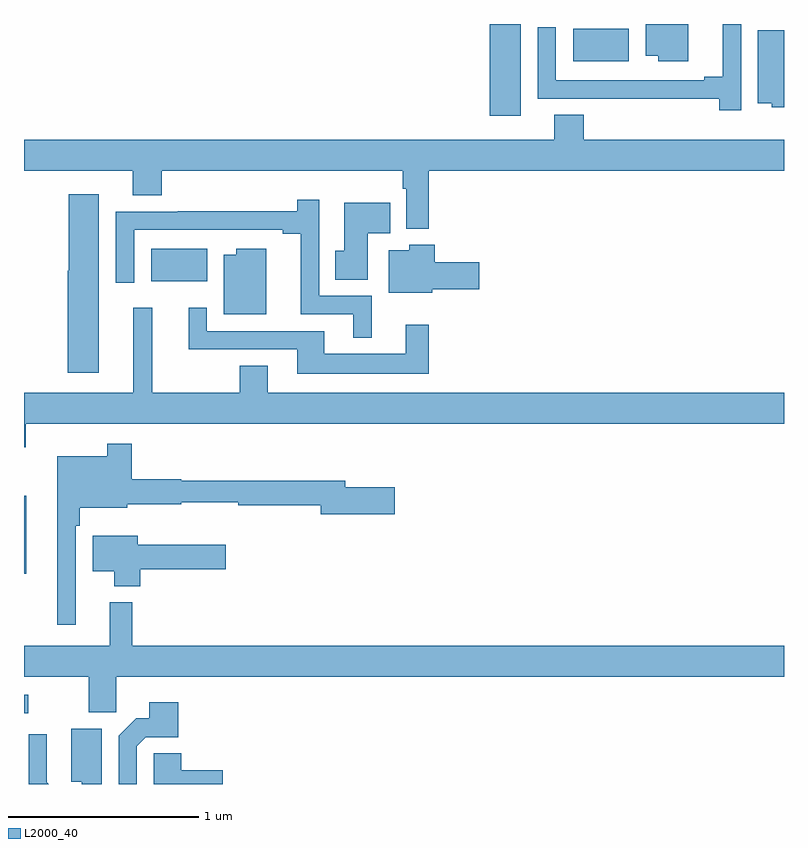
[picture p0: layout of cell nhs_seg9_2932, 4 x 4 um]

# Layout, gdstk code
import gdstk
lib = gdstk.Library(unit=1e-6, precision=1e-09)
def R(c, l, rs):  # rectangles x0, y0, x1, y1
    for r in rs: c.add(gdstk.rectangle(r[:2], r[2:], *l))
def P(c, l, *ps):  # polygons
    for p in ps: c.add(gdstk.Polygon(p, *l))
L2000_40 = (2000, 40)

nhs_seg9_2932 = lib.new_cell('nhs_seg9_2932')
R(nhs_seg9_2932, L2000_40, [(279,1218.873,279.022,1218.969), (279,1219.607,279.013,1220.017), (279.671,1221.146,279.964,1221.316), (281.45,1222.017,281.614,1222.5), (281.891,1222.304,282.184,1222.474)])
P(nhs_seg9_2932, L2000_40, [(282.496,1222.5),(282.272,1222.5),(282.272,1222.334),(282.338,1222.334),(282.338,1222.304),(282.496,1222.304)],
  [(282.774,1222.5),(282.677,1222.5),(282.677,1222.223),(282.581,1222.223),(282.581,1222.203),(281.799,1222.203),(281.799,1222.483),(281.703,1222.483),(281.703,1222.107),(282.028,1222.107),(282.028,1222.106),(282.658,1222.106),(282.658,1222.047),(282.774,1222.047)],
  [(283,1222.466),(282.863,1222.466),(282.863,1222.082),(282.936,1222.082),(282.936,1222.061),(283,1222.061)],
  [(279,1221.728),(279.572,1221.728),(279.572,1221.598),(279.725,1221.598),(279.725,1221.728),(280.993,1221.728),(280.993,1221.632),(281.013,1221.632),(281.013,1221.422),(281.129,1221.422),(281.129,1221.728),(283,1221.728),(283,1221.892),(281.945,1221.892),(281.945,1222.022),(281.792,1222.022),(281.792,1221.892),(279,1221.892)],
  [(279.394,1221.604),(279.236,1221.604),(279.236,1221.201),(279.23,1221.201),(279.23,1220.664),(279.394,1220.664)],
  [(280.831,1221.069),(280.554,1221.069),(280.554,1221.574),(280.438,1221.574),(280.438,1221.515),(279.808,1221.515),(279.808,1221.513),(279.483,1221.513),(279.483,1221.138),(279.579,1221.138),(279.579,1221.417),(280.361,1221.417),(280.361,1221.397),(280.457,1221.397),(280.457,1220.973),(280.733,1220.973),(280.733,1220.849),(280.831,1220.849)],
  [(280.81,1221.398),(280.928,1221.398),(280.928,1221.559),(280.685,1221.559),(280.685,1221.306),(280.639,1221.306),(280.639,1221.154),(280.81,1221.154)],
  [(281.149,1221.104),(281.395,1221.104),(281.395,1221.246),(281.162,1221.246),(281.162,1221.337),(281.028,1221.337),(281.028,1221.31),(280.919,1221.31),(280.919,1221.086),(281.149,1221.086)],
  [(280.276,1221.316),(280.118,1221.316),(280.118,1221.286),(280.052,1221.286),(280.052,1220.972),(280.276,1220.972)],
  [(279.01,1220.396),(283,1220.396),(283,1220.56),(280.282,1220.56),(280.282,1220.702),(280.135,1220.702),(280.135,1220.56),(279.674,1220.56),(279.674,1221.007),(279.575,1221.007),(279.575,1220.56),(279,1220.56),(279,1220.273),(279.01,1220.273)],
  [(281.131,1220.917),(281.009,1220.917),(281.009,1220.764),(280.579,1220.764),(280.579,1220.883),(279.963,1220.883),(279.963,1221.007),(279.866,1221.007),(279.866,1220.787),(280.439,1220.787),(280.439,1220.66),(281.131,1220.66)],
  [(279.273,1219.859),(279.293,1219.859),(279.293,1219.955),(279.543,1219.955),(279.543,1219.973),(279.828,1219.973),(279.828,1219.984),(280.128,1219.984),(280.128,1219.966),(280.562,1219.966),(280.562,1219.919),(280.951,1219.919),(280.951,1220.061),(280.69,1220.061),(280.69,1220.095),(279.828,1220.095),(279.828,1220.103),(279.566,1220.103),(279.566,1220.29),(279.438,1220.29),(279.438,1220.224),(279.176,1220.224),(279.176,1219.338),(279.273,1219.338)],
  [(279.611,1219.63),(280.063,1219.63),(280.063,1219.759),(279.598,1219.759),(279.598,1219.807),(279.362,1219.807),(279.362,1219.619),(279.476,1219.619),(279.476,1219.541),(279.611,1219.541)],
  [(279.486,1219.064),(283,1219.064),(283,1219.228),(279.569,1219.228),(279.569,1219.456),(279.452,1219.456),(279.452,1219.228),(279,1219.228),(279,1219.064),(279.34,1219.064),(279.34,1218.877),(279.486,1218.877)],
  [(279.594,1218.699),(279.642,1218.747),(279.812,1218.747),(279.812,1218.931),(279.659,1218.931),(279.659,1218.846),(279.591,1218.846),(279.498,1218.753),(279.498,1218.5),(279.594,1218.5)],
  [(279.409,1218.792),(279.248,1218.792),(279.248,1218.513),(279.305,1218.513),(279.305,1218.5),(279.409,1218.5)],
  [(279.119,1218.51),(279.119,1218.616),(279.12,1218.616),(279.12,1218.763),(279.024,1218.763),(279.024,1218.5),(279.129,1218.5)],
  [(280.045,1218.572),(279.827,1218.572),(279.827,1218.662),(279.684,1218.662),(279.684,1218.554),(279.683,1218.554),(279.683,1218.5),(280.045,1218.5)])

lib.write_gds('nhs_seg9_2932.gds')
